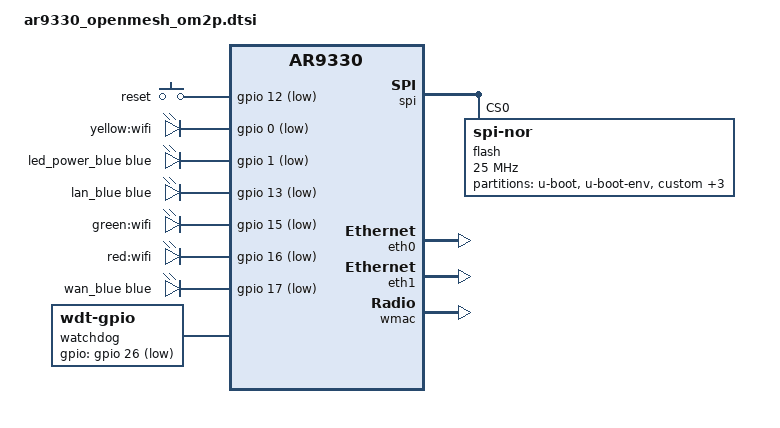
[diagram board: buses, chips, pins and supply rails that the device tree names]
// SPDX-License-Identifier: GPL-2.0-or-later OR MIT

#include "ar9330.dtsi"

#include <dt-bindings/gpio/gpio.h>
#include <dt-bindings/input/input.h>
#include <dt-bindings/leds/common.h>

/ {
	chosen {
		/delete-property/ bootargs;
	};

	aliases {
		led-boot = &led_power_blue;
		led-failsafe = &led_power_blue;
		led-running = &led_power_blue;
		led-upgrade = &led_power_blue;
		label-mac-device = &eth1;
	};

	keys {
		compatible = "gpio-keys";

		reset {
			label = "reset";
			linux,code = <KEY_RESTART>;
			gpios = <&gpio 12 GPIO_ACTIVE_LOW>;
		};
	};

	leds {
		compatible = "gpio-leds";

		pinctrl-names = "default";
		pinctrl-0 = <&switch_led_disable_pins>;

		wifi_yellow {
			label = "yellow:wifi";
			gpios = <&gpio 0 GPIO_ACTIVE_LOW>;
		};

		led_power_blue: power_blue {
			function = LED_FUNCTION_POWER;
			color = <LED_COLOR_ID_BLUE>;
			gpios = <&gpio 1 GPIO_ACTIVE_LOW>;
			default-state = "on";
		};

		lan_blue {
			function = LED_FUNCTION_LAN;
			color = <LED_COLOR_ID_BLUE>;
			gpios = <&gpio 13 GPIO_ACTIVE_LOW>;
		};

		wifi_green {
			label = "green:wifi";
			gpios = <&gpio 15 GPIO_ACTIVE_LOW>;
			linux,default-trigger = "phy0tpt";
		};

		wifi_red {
			label = "red:wifi";
			gpios = <&gpio 16 GPIO_ACTIVE_LOW>;
		};

		wan_blue {
			function = LED_FUNCTION_WAN;
			color = <LED_COLOR_ID_BLUE>;
			gpios = <&gpio 17 GPIO_ACTIVE_LOW>;
		};
	};

	watchdog {
		compatible = "linux,wdt-gpio";
		gpios = <&gpio 26 GPIO_ACTIVE_LOW>;
		hw_algo = "toggle";
		/* hw_margin_ms is actually 300s but driver limits it to 60s */
		hw_margin_ms = <60000>;
		always-running;
	};
};

&spi {
	status = "okay";

	flash@0 {
		compatible = "jedec,spi-nor";
		reg = <0>;
		spi-max-frequency = <25000000>;

		/* partitions are passed via bootloader */
		partitions {
			compatible = "fixed-partitions";
			#address-cells = <1>;
			#size-cells = <1>;

			partition@0 {
				label = "u-boot";
				reg = <0x000000 0x040000>;
				read-only;
			};

			partition@40000 {
				label = "u-boot-env";
				reg = <0x040000 0x040000>;
			};

			partition@80000 {
				label = "custom";
				reg = <0x080000 0x140000>;
				read-only;
			};

			partition@1c0000 {
				label = "inactive";
				reg = <0x1c0000 0x700000>;
			};

			partition@8c0000 {
				label = "inactive2";
				reg = <0x8c0000 0x700000>;
			};

			partition@fc0000 {
				label = "ART";
				reg = <0xfc0000 0x040000>;
				read-only;

				nvmem-layout {
					compatible = "fixed-layout";
					#address-cells = <1>;
					#size-cells = <1>;

					macaddr_art_0: macaddr@0 {
						reg = <0x0 0x6>;
					};

					macaddr_art_6: macaddr@6 {
						reg = <0x6 0x6>;
					};

					cal_art_1000: calibration@1000 {
						reg = <0x1000 0x440>;
					};
				};
			};
		};
	};
};

&eth0 {
	status = "okay";

	nvmem-cells = <&macaddr_art_6>;
	nvmem-cell-names = "mac-address";
};

&eth1 {
	status = "okay";

	nvmem-cells = <&macaddr_art_0>;
	nvmem-cell-names = "mac-address";
};

&wmac {
	status = "okay";

	nvmem-cells = <&cal_art_1000>;
	nvmem-cell-names = "calibration";
};
